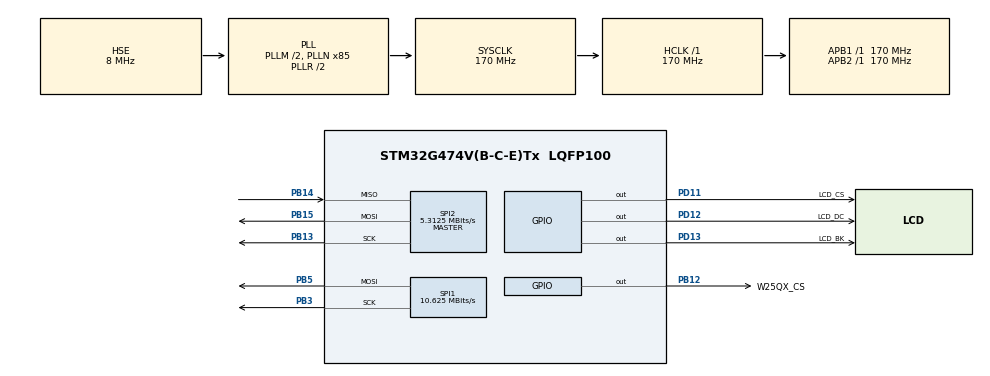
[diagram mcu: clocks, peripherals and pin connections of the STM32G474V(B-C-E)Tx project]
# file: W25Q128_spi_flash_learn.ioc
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Dma.Request0=SPI2_TX
Dma.Request1=SPI2_RX
Dma.SPI2_RX.1.Direction=DMA_PERIPH_TO_MEMORY
Dma.SPI2_RX.1.EventEnable=DISABLE
Dma.SPI2_RX.1.Instance=DMA1_Channel2
Dma.SPI2_RX.1.MemDataAlignment=DMA_MDATAALIGN_BYTE
Dma.SPI2_RX.1.MemInc=DMA_MINC_ENABLE
Dma.SPI2_RX.1.Mode=DMA_NORMAL
Dma.SPI2_RX.1.PeriphDataAlignment=DMA_PDATAALIGN_BYTE
Dma.SPI2_RX.1.PeriphInc=DMA_PINC_DISABLE
Dma.SPI2_RX.1.Polarity=HAL_DMAMUX_REQ_GEN_RISING
Dma.SPI2_RX.1.Priority=DMA_PRIORITY_LOW
Dma.SPI2_RX.1.RequestNumber=1
Dma.SPI2_RX.1.SignalID=NONE
Dma.SPI2_RX.1.SyncEnable=DISABLE
Dma.SPI2_RX.1.SyncPolarity=HAL_DMAMUX_SYNC_NO_EVENT
Dma.SPI2_RX.1.SyncRequestNumber=1
Dma.SPI2_RX.1.SyncSignalID=NONE
Dma.SPI2_TX.0.Direction=DMA_MEMORY_TO_PERIPH
Dma.SPI2_TX.0.EventEnable=DISABLE
Dma.SPI2_TX.0.Instance=DMA1_Channel1
Dma.SPI2_TX.0.MemDataAlignment=DMA_MDATAALIGN_BYTE
Dma.SPI2_TX.0.MemInc=DMA_MINC_ENABLE
Dma.SPI2_TX.0.Mode=DMA_NORMAL
Dma.SPI2_TX.0.PeriphDataAlignment=DMA_PDATAALIGN_BYTE
Dma.SPI2_TX.0.PeriphInc=DMA_PINC_DISABLE
Dma.SPI2_TX.0.Polarity=HAL_DMAMUX_REQ_GEN_RISING
Dma.SPI2_TX.0.Priority=DMA_PRIORITY_LOW
Dma.SPI2_TX.0.RequestNumber=1
Dma.SPI2_TX.0.SignalID=NONE
Dma.SPI2_TX.0.SyncEnable=DISABLE
Dma.SPI2_TX.0.SyncPolarity=HAL_DMAMUX_SYNC_NO_EVENT
Dma.SPI2_TX.0.SyncRequestNumber=1
Dma.SPI2_TX.0.SyncSignalID=NONE
Mcu.Family=STM32G4
Mcu.Name=STM32G474V(B-C-E)Tx
Mcu.Package=LQFP100
NVIC.DMA1_Channel1_IRQn=true\:1\:0\:true\:false\:true\:false\:true\:true
NVIC.DMA1_Channel2_IRQn=true\:1\:0\:true\:false\:true\:false\:true\:true
NVIC.PriorityGroup=NVIC_PRIORITYGROUP_4
PA13.Mode=Serial_Wire
PA13.Signal=SYS_JTMS-SWDIO
PA14.Mode=Serial_Wire
PA14.Signal=SYS_JTCK-SWCLK
PB12.GPIO_Label=W25QX_CS
PB12.GPIO_ModeDefaultOutputPP=GPIO_MODE_OUTPUT_PP
PB12.GPIO_Speed=GPIO_SPEED_FREQ_VERY_HIGH
PB12.PinState=GPIO_PIN_SET
PB12.Signal=GPIO_Output
PB13.Mode=Full_Duplex_Master
PB13.Signal=SPI2_SCK
PB14.Mode=Full_Duplex_Master
PB14.Signal=SPI2_MISO
PB15.Mode=Full_Duplex_Master
PB15.Signal=SPI2_MOSI
PB3.Mode=TX_Only_Simplex_Unidirect_Master
PB3.Signal=SPI1_SCK
PB5.Mode=TX_Only_Simplex_Unidirect_Master
PB5.Signal=SPI1_MOSI
PC14-OSC32_IN.Mode=LSE-External-Oscillator
PC14-OSC32_IN.Signal=RCC_OSC32_IN
PC15-OSC32_OUT.Mode=LSE-External-Oscillator
PC15-OSC32_OUT.Signal=RCC_OSC32_OUT
PD11.GPIO_Label=LCD_CS
PD11.GPIO_Speed=GPIO_SPEED_FREQ_HIGH
PD11.PinState=GPIO_PIN_SET
PD11.Signal=GPIO_Output
PD12.GPIO_Label=LCD_DC
PD12.GPIO_Speed=GPIO_SPEED_FREQ_HIGH
PD12.PinState=GPIO_PIN_RESET
PD12.Signal=GPIO_Output
PD13.GPIO_Label=LCD_BK
PD13.GPIO_Speed=GPIO_SPEED_FREQ_LOW
PD13.Signal=GPIO_Output
PF0-OSC_IN.Mode=HSE-External-Oscillator
PF0-OSC_IN.Signal=RCC_OSC_IN
PF1-OSC_OUT.Mode=HSE-External-Oscillator
PF1-OSC_OUT.Signal=RCC_OSC_OUT
ProjectManager.HeapSize=0x200
ProjectManager.StackSize=0x400
ProjectManager.TargetToolchain=MDK-ARM V5.32
RCC.ADC12Freq_Value=170000000
RCC.ADC345Freq_Value=170000000
RCC.AHBFreq_Value=170000000
RCC.APB1Freq_Value=170000000
RCC.APB1TimFreq_Value=170000000
RCC.APB2Freq_Value=170000000
RCC.APB2TimFreq_Value=170000000
RCC.CortexFreq_Value=170000000
RCC.EXTERNAL_CLOCK_VALUE=12288000
RCC.HCLKFreq_Value=170000000
RCC.HSE_VALUE=8000000
RCC.HSI48_VALUE=48000000
RCC.HSI_VALUE=16000000
RCC.PLLM=RCC_PLLM_DIV2
RCC.PLLN=85
RCC.PLLSourceVirtual=RCC_PLLSOURCE_HSE
RCC.SYSCLKFreq_VALUE=170000000
RCC.SYSCLKSource=RCC_SYSCLKSOURCE_PLLCLK
RCC.USBFreq_Value=170000000
RCC.VCOOutputFreq_Value=340000000
SPI1.BaudRatePrescaler=SPI_BAUDRATEPRESCALER_16
SPI1.CalculateBaudRate=10.625 MBits/s
SPI1.DataSize=SPI_DATASIZE_8BIT
SPI1.Direction=SPI_DIRECTION_2LINES
SPI1.Mode=SPI_MODE_MASTER
SPI1.NSSPMode=SPI_NSS_PULSE_DISABLE
SPI1.VirtualNSS=VM_NSSHARD
SPI1.VirtualType=VM_MASTER
SPI2.BaudRatePrescaler=SPI_BAUDRATEPRESCALER_32
SPI2.CLKPhase=SPI_PHASE_2EDGE
SPI2.CLKPolarity=SPI_POLARITY_HIGH
SPI2.CalculateBaudRate=5.3125 MBits/s
SPI2.DataSize=SPI_DATASIZE_8BIT
SPI2.Direction=SPI_DIRECTION_2LINES
SPI2.Mode=SPI_MODE_MASTER
SPI2.VirtualType=VM_MASTER
VP_SYS_VS_DBSignals.Mode=DisableDeadBatterySignals
board=custom

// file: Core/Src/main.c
/* USER CODE BEGIN Header */
/**
  ******************************************************************************
  * @file           : main.c
  * @brief          : Main program body
  ******************************************************************************
  * @attention
  *
  * Copyright (c) 2026 STMicroelectronics.
  * All rights reserved.
  *
  * This software is licensed under terms that can be found in the LICENSE file
  * in the root directory of this software component.
  * If no LICENSE file comes with this software, it is provided AS-IS.
  *
  ******************************************************************************
  */
/* USER CODE END Header */
#include "main.h"
#include "dma.h"
#include "spi.h"
#include "gpio.h"

/* USER CODE BEGIN Includes */
#include "w25flash.h"
#include "lcd.h"
#include "lcd_fonts.h"

/* USER CODE END Includes */

/* USER CODE BEGIN PV */
uint8_t bufferPageRead[256];  // 接受一个page数据的缓冲区，w25q128的page大小是256字节
uint8_t bufferPageWrite[256]; // 用于写入一个page数据的缓冲区
uint8_t lcd_message[30] = {0};      // LCD显示字符串的缓冲区
/* USER CODE END PV */

void SystemClock_Config(void);

/* USER CODE BEGIN 0 */

/* 读取器件ID，根据ID可以判断是哪家的flash */
void flash_test_read_id(void)
{
  uint16_t id_temp = Flash_ReadID();
  sprintf((char *)lcd_message, "ID=0x%04X", id_temp);// 使用sprintf要包含string.h
  LCD_DisplayString(10,3*26,(char *)lcd_message);
}

/* 读状态寄存器SR1和SR2 */
void flash_test_read_status(void)
{
  uint8_t SR1 = Flash_ReadSR1(); // 读寄存器SR1
  sprintf((char *)lcd_message, "Status Reg1 = 0x%02X", SR1); // Hex显示
  LCD_DisplayString(10,4*26,(char *)lcd_message);
  uint8_t SR2 = Flash_ReadSR2(); // 读寄存器SR2
  sprintf((char *)lcd_message, "Status Reg2 = 0x%02X", SR2); // Hex显示
  LCD_DisplayString(10,5*26,(char *)lcd_message);
}

/*
* 测试写入page0和page1
* 注意写之前先擦除
* w25q128的总容量16MB，
* 16MB被分为256个块（Block），
* 每个Block被分为16个扇区（Sector），
* 每个Sector被分为16个页（Page），
* 每个页256字节
*/
void flash_test_write_page(void)
{
  // 写入page0
  uint8_t blockNum = 0; // Block0
  uint16_t sectorNum = 0; // Sector0
  uint16_t pageNum = 0; // Page0
  uint32_t memAddress = 0;
  memAddress = Flash_Addr_byBlockSectorPage(blockNum, sectorNum, pageNum); // 计算全局地址
  uint8_t writeData1[] = "Hello from beginning";
  uint16_t len = strlen((char *)writeData1) + 1; // 注意strlen不包括字符串结尾的'\0'，所以要加1
  Flash_WriteInPage(memAddress, writeData1, len); // 在Page0起始地址写入数据

  uint8_t writeData2[] = "Hello in page";
  len = strlen((char *)writeData2) + 1;
  Flash_WriteInPage(memAddress + 100, writeData2, len); // 在Page0的偏移地址写入数据

  // 写入page1
  uint8_t writeData3[256]; // FLASH_PAGE_SIZE = 256字节
  for (uint16_t i = 0; i < 256; i++)
  {
    writeData3[i] = i; // 准备数据
  }
  pageNum = 1; // Page1
  memAddress = Flash_Addr_byBlockSectorPage(blockNum, sectorNum, pageNum); // 计算全局地址
  Flash_WriteInPage(memAddress, writeData3, 256); // 写一个Page的数据
}

/* 测试读取page0和page1的数据 */
void flash_test_read_page(void)
{
  // 读取page0
  uint8_t blockNum = 0; // Block0
  uint16_t sectorNum = 0; // Sector0
  uint16_t pageNum = 0; // Page0
  uint32_t memAddress = Flash_Addr_byBlockSectorPage(blockNum, sectorNum, pageNum); // 计算全局地址
  uint8_t readBuffer[50] = {0}; // 用于存储读取的数据
  Flash_ReadBytes(memAddress, readBuffer, 50); // 从Page0起始地址读取一个Page的数据
  LCD_DisplayString(10,1*18,(char *)readBuffer); // 显示读取的数据
  Flash_ReadBytes(memAddress + 100, readBuffer, 50); // 从Page0的偏移地址读取数据
  LCD_DisplayString(10,2*18,(char *)readBuffer); // 显示读取的数据

  // 读取page1
  pageNum = 3; // Page1
  memAddress = Flash_Addr_byBlockSectorPage(blockNum, sectorNum, pageNum); // 计算全局地址
  uint8_t randData = 0; // 随机读一个字节
  randData = Flash_ReadOneByte(memAddress + 12); // 页内偏移地址12，根据之前写入的数据，这个位置应该是数字12
  sprintf((char *)lcd_message, "Random data in page1 = %d", randData); // Decimal显示
  LCD_DisplayString(10,3*18,(char *)lcd_message);
  randData = Flash_ReadOneByte(memAddress + 136); // 页内偏移地址136，根据之前写入的数据，这个位置应该是数字136
  sprintf((char *)lcd_message, "Random data in page1 = %d", randData); // Decimal显示
  LCD_DisplayString(10,4*18,(char *)lcd_message);
  randData = Flash_ReadOneByte(memAddress + 255); // 页内偏移地址255，根据之前写入的数据，这个位置应该是数字255
  sprintf((char *)lcd_message, "Random data in page1 = %d", randData); // Decimal显示
  LCD_DisplayString(10,5*18,(char *)lcd_message);
}

/* 以DMA方式写入1个page的数据 */
void flash_test_write_page_dma(void)
{
  uint8_t blockNum = 0; // Block0
  uint16_t sectorNum = 0; // Sector0
  uint32_t memAddress = 0;

  // 写之前先擦除page所在的扇区
  uint16_t sectorNo = Flash_Addr_byBlockSector(blockNum, sectorNum) / FLASH_SECTOR_SIZE; // 计算扇区编号
  memAddress = Flash_Addr_bySector(sectorNo); // 计算扇区绝对地址
  Flash_EraseSector(memAddress); // 擦除扇区

  for (uint16_t i = 0; i < 256; i++)
  {
    bufferPageWrite[i] = i; // 准备数据
  }

  uint16_t pageNum = 3; // Page3
  memAddress = Flash_Addr_byBlockSectorPage(blockNum, sectorNum, pageNum); // 计算全局地址
  uint8_t byte2, byte3, byte4;
  Flash_SpliteAddr(memAddress, &byte2, &byte3, &byte4); // 24位地址分解为3个字节

  Flash_Write_Enable(); // 写使能
  Flash_Wait_Busy();
  __Select_Flash();           // CS=0
  SPI_TransmitOneByte(0x02);  // Command=0x02，对一个页编程
  SPI_TransmitOneByte(byte2); // 发送24位地址
  SPI_TransmitOneByte(byte3);
  SPI_TransmitOneByte(byte4);
  //以DMA方式连续写入256字节数据
  LCD_DisplayString(10,5*18,"DMA Writing..."); // 显示写入开始的提示信息
  HAL_SPI_Transmit_DMA(&hspi2, bufferPageWrite, 256); // 发送byteCount个字节的数据
}

/* DMA发送中断回调*/
void HAL_SPI_TxCpltCallback(SPI_HandleTypeDef *hspi)
{
  if (hspi->Instance == SPI2) // 判断是哪个SPI的DMA传输完成
  {
    __Deselect_Flash(); // CS=1，结束通信
    Flash_Wait_Busy(); // 等待写入完成
    LCD_DisplayString(10,6*18,"DMA Write Completed"); // 显示写入完成的提示信息
  }
}

/* 以DMA方式读1个page */
void flash_test_read_page_dma(void)
{
	Flash_Wait_Busy();
  uint8_t blockNum = 0; // Block0
  uint16_t sectorNum = 0; // Sector0
  uint16_t pageNum = 3; // Page3
  uint32_t memAddress = Flash_Addr_byBlockSectorPage(blockNum, sectorNum, pageNum); // 计算全局地址
  uint8_t byte2, byte3, byte4;
  Flash_SpliteAddr(memAddress, &byte2, &byte3, &byte4); // 24位地址分解为3个字节

  __Select_Flash();           // CS=0
  SPI_TransmitOneByte(0x03);  // Command=0x03，读数据
  SPI_TransmitOneByte(byte2); // 发送24位地址
  SPI_TransmitOneByte(byte3);
  SPI_TransmitOneByte(byte4);

  //以DMA方式连续读取256字节数据到bufferPageRead缓冲区
  LCD_DisplayString(10,5*18,"DMA Reading..."); // 显示读取开始的提示信息
  HAL_SPI_Receive_DMA(&hspi2, bufferPageRead, 256);
}

/* DMA接收中断回调 */
void HAL_SPI_RxCpltCallback(SPI_HandleTypeDef *hspi)
{
  if (hspi->Instance == SPI2) // 判断是哪个SPI的DMA传输完成
  {
    __Deselect_Flash(); // CS=1，结束通信
		Flash_Wait_Busy(); // 等待读取完成
    LCD_DisplayString(10,6*18,"DMA Read Completed"); // 显示读取完成的提示信息
    // 显示读取的数据
    sprintf((char *)lcd_message, "Data in page3: %d %d %d", bufferPageRead[0], bufferPageRead[100], bufferPageRead[255]);
    LCD_DisplayString(10,7*18,(char *)lcd_message);
  }
}

/* USER CODE END 0 */

int main(void)
{

  /* MCU Configuration--------------------------------------------------------*/

  /* Reset of all peripherals, Initializes the Flash interface and the Systick. */
  HAL_Init();

  /* Configure the system clock */
  SystemClock_Config();

  /* Initialize all configured peripherals */
  MX_GPIO_Init();
  MX_DMA_Init();
  MX_SPI2_Init();
  MX_SPI1_Init();
  /* USER CODE BEGIN 2 */
  LCD_Init();// 屏幕初始化，已经包含等待上电稳定的延时

  /* USER CODE END 2 */

  /* Infinite loop */
  /* USER CODE BEGIN WHILE */

  LCD_SetAsciiFont(&ASCII_Font24);
	LCD_DisplayString(10,1*26,"SPI_FLASH"); // 驱动库无自动换行

	LCD_SetAsciiFont(&ASCII_Font16); // 改个字体大小

//  LCD_DisplayString(10,2*26,"Erasing...");
//  Flash_EraseChip(); // 写入数据前应该先擦除
//  LCD_ClearRect(10,2*26,LCD_Width,26); // 擦除提示信息
//  LCD_DisplayString(10,2*26,"Erased");

//  LCD_DisplayString(10,3*26,"Writing...");
//  flash_test_write_page(); // 测试写入page0和page1

//  flash_test_write_page_dma(); // dma写
//	flash_test_read_page();
//	HAL_Delay(2000);
  flash_test_read_page_dma(); // dma读

  while (1)
  {

    /* USER CODE END WHILE */

  }
}

void SystemClock_Config(void)
{
  RCC_OscInitTypeDef RCC_OscInitStruct = {0};
  RCC_ClkInitTypeDef RCC_ClkInitStruct = {0};

  /** Configure the main internal regulator output voltage
  */
  HAL_PWREx_ControlVoltageScaling(PWR_REGULATOR_VOLTAGE_SCALE1_BOOST);

  /** Initializes the RCC Oscillators according to the specified parameters
  * in the RCC_OscInitTypeDef structure.
  */
  RCC_OscInitStruct.OscillatorType = RCC_OSCILLATORTYPE_HSE;
  RCC_OscInitStruct.HSEState = RCC_HSE_ON;
  RCC_OscInitStruct.PLL.PLLState = RCC_PLL_ON;
  RCC_OscInitStruct.PLL.PLLSource = RCC_PLLSOURCE_HSE;
  RCC_OscInitStruct.PLL.PLLM = RCC_PLLM_DIV2;
  RCC_OscInitStruct.PLL.PLLN = 85;
  RCC_OscInitStruct.PLL.PLLP = RCC_PLLP_DIV2;
  RCC_OscInitStruct.PLL.PLLQ = RCC_PLLQ_DIV2;
  RCC_OscInitStruct.PLL.PLLR = RCC_PLLR_DIV2;
  if (HAL_RCC_OscConfig(&RCC_OscInitStruct) != HAL_OK)
  {
    Error_Handler();
  }

  /** Initializes the CPU, AHB and APB buses clocks
  */
  RCC_ClkInitStruct.ClockType = RCC_CLOCKTYPE_HCLK|RCC_CLOCKTYPE_SYSCLK
                              |RCC_CLOCKTYPE_PCLK1|RCC_CLOCKTYPE_PCLK2;
  RCC_ClkInitStruct.SYSCLKSource = RCC_SYSCLKSOURCE_PLLCLK;
  RCC_ClkInitStruct.AHBCLKDivider = RCC_SYSCLK_DIV1;
  RCC_ClkInitStruct.APB1CLKDivider = RCC_HCLK_DIV1;
  RCC_ClkInitStruct.APB2CLKDivider = RCC_HCLK_DIV1;

  if (HAL_RCC_ClockConfig(&RCC_ClkInitStruct, FLASH_LATENCY_4) != HAL_OK)
  {
    Error_Handler();
  }
}

void Error_Handler(void)
{
  __disable_irq();
  while (1)
  {
  }
}
